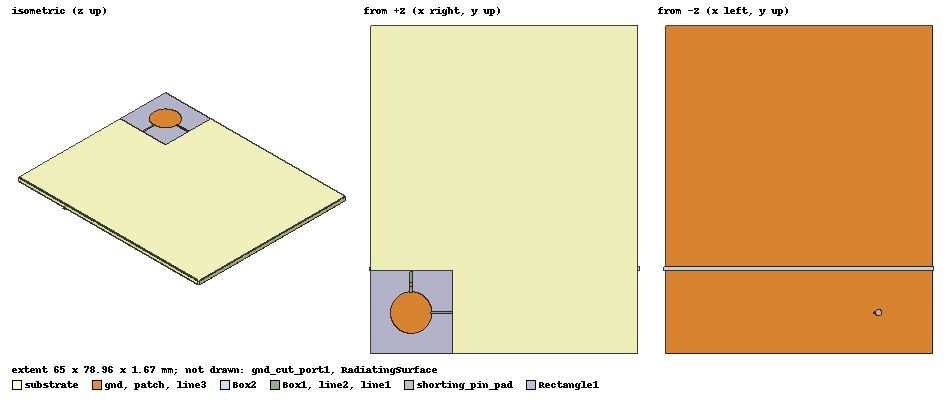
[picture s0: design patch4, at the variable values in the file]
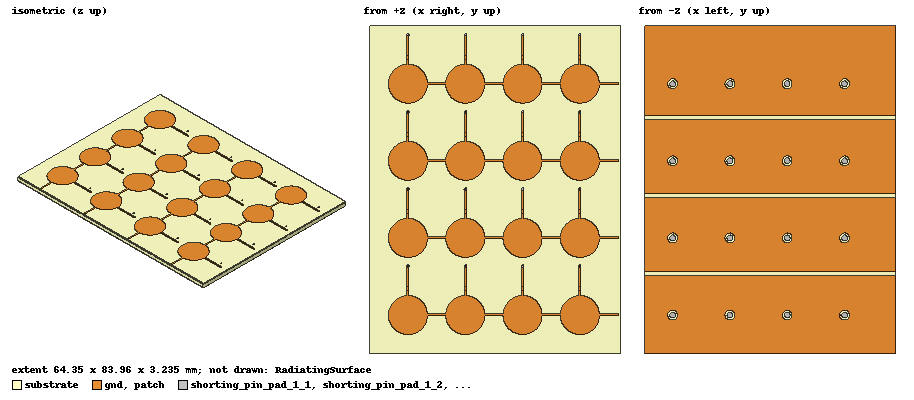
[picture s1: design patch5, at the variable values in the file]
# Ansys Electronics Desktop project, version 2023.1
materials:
  FR4_epoxy: permittivity=4.4 dielectric_loss_tangent=0.02
  copper: permeability=0.999991 conductivity=58000000
  vacuum: permittivity=1
  air: permittivity=1.0006 permeability=1.0000004

design patch4 (HFSS, HFSS Modal Network, model units mm)
options: Allow_Material_Override
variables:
  l = 19.739914mm  # optimise 10.5mm..31.5mm
  sh = 1.6mm
  ch = 0.035mm
  p_p = 3.2583886mm  # optimise 1.25mm..3.75mm
  p_py = 0mm
  p_r2 = 0.25mm
  p_r4 = 0.75mm
  p_rw = 0.4mm
  p_r3 = 1.25mm
  l1 = 5mm  # optimise 3.35mm..10.05mm
  w2 = 0.5mm
  l2 = 1.28425mm
  l3 = 1mm
  ind = 2.2nH
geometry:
  substrate [FR4_epoxy] = box(corner=(-l/2, -l/2, 0mm), size=(l+3*(l/2+l1), l+3*l, -sh))
  gnd_cut_port1 = cylinder(axis=Z, base_centre=(p_py, p_p, -sh), radius=p_r3, height=-ch)
  shorting_pin_pad [copper] = cylinder(axis=Z, base_centre=(p_py, p_p, -sh), radius=p_r4, height=-ch)
  shorting_pin [copper] = cylinder(axis=Z, base_centre=(p_py, p_p, 0), radius=p_r2, height=-sh)
  port1 [vacuum] = box(corner=(p_py-(p_rw)/2, p_p+p_r4-0.05mm, -sh-ch), size=(p_rw, p_r3-p_r4+0.1mm, 0))
  RadiatingSurface [air] = region(absolute_offset=19.230769mm on all sides)
  gnd [copper] = box(corner=(-l/2, -l/2, -sh), size=(l+3*(l/2+l1), 4*l, -ch))
  coordinate_system RelativeCS1 = origin=(-5mm, -5mm, 0mm) x=(1mm, 0mm, 0mm) y=(0mm, 1mm, 0mm)
  [shorting_pin_pad, shorting_pin, port1, gnd_cut_port1].rotate(axis=Z, angle=270deg)
  patch [copper] = cylinder(axis=Z, base_centre=(0mm, 0mm, ch), radius=l1, height=-ch)
  line1 = box(corner=(-w2/2, l1-0.2mm, ch), size=(w2, l2+0.2mm, -ch))
  line2 = box(corner=(-w2/2, l1+l2+l3, ch), size=(w2, l/2-l1-l2-l3, -ch))
  line3 [copper] = box(corner=(-w2/2, l1+l2, ch), size=(w2, l3, -ch))
  Box1 = box(corner=(l1-0.3mm, -w2/2, ch), size=(l/2-l1+0.3mm, w2, -ch))
  Box2 [vacuum] = box(corner=(-10mm, 10mm, -sh), size=(65mm, 1mm, -ch))
  Rectangle1 = rectangle(corner=(-9.869957mm, -9.869957mm, 0mm), x_size=19.869957mm, y_size=19.869957mm)
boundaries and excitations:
  Open1: Radiation Objects=RadiatingSurface
  LumpRLC1: Lumped RLC Objects=line3 CurrentLine{(0, 6.28425, 0.035) -> (0, 7.28425, 0.035)} RLC_Type=Serial Inductance=ind
  1: Lumped Port Objects=port1 LumpedPortType=Modal Modes{Mode1{IntLine{(4.5583886, 0, -1.635) -> (3.9583886, 0, -1.635)} CharImp=Zpi RenormImp="(14.84+1i*84) ohm"}} Impedance=14.84+1i*84
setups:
  Setup1: HfssDriven Frequency=5.2GHz MaxDeltaS=0.02 MaximumPasses=20 MinimumPasses=1 MinimumConvergedPasses=1 PercentRefinement=30 BasisOrder=1 PortAccuracy=2 DrivenSolverType="Domain Decomposition" IterativeResidual=1e-06 DDMSolverResidual=0.0001
    sweep Sweep: 4GHz to 6GHz, 401 points; Type=Interpolating InterpTolerance=0.5 InterpMaxSolns=250 InterpUsePortImped=false PassivityErrorTolerance=0.0001
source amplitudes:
  1:1: 1W 0deg
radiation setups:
  3D: Infinite Sphere Theta=0deg..180deg step 2deg Phi=-180deg..180deg step 2deg
  Elevation: Infinite Sphere Theta=-180deg..180deg step 1deg Phi=0deg..90deg step 90deg
  Azimuth: Infinite Sphere Theta=90deg..90deg step 0deg Phi=-180deg..180deg step 1deg
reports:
  Z Parameter: re(Z(1,1)), im(Z(1,1)) vs Freq on Setup1 : Sweep; markers m1 at 5.2GHz, m2 at 5.2GHz, m3 at 5.2GHz, m4 at 5.2GHz, MX1 at x=5.2005922e+09
  Gain Plot 4: dB(GainTotal) vs Phi, Theta on Setup1 : LastAdaptive, 3D [Freq=5.2GHz l=19.7399mm]
  S Parameter Plot 5: dB(S(1,1)) vs Freq on Setup1 : Sweep [l=19.7399mm]; markers MX1 at x=5.2380251e+09

design patch5 (HFSS, HFSS Modal Network, model units mm)
options: Allow_Material_Override
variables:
  l = 19.739914mm  # optimise 10.5mm..31.5mm
  sh = 1.6mm
  ch = 0.035mm
  p_p = 3.2583886mm  # optimise 1.25mm..3.75mm
  p_py = 0mm
  p_r2 = 0.25mm
  p_r4 = 0.75mm
  p_rw = 0.4mm
  p_r3 = 1.25mm
  l1 = 5mm  # optimise 3.35mm..10.05mm
  w2 = 0.5mm
  l2 = 1.28425mm
  l3 = 1mm
  ind = 2.2nH
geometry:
  substrate [FR4_epoxy] = box(corner=(-l/2, -l/2, 0mm), size=(l+3*(l/2+l1), l+3*l+5mm, -sh))
  gnd_cut_port1 = cylinder(axis=Z, base_centre=(p_py, p_p, -sh), radius=p_r3, height=-ch)
  shorting_pin_pad [copper] = cylinder(axis=Z, base_centre=(p_py, p_p, -sh), radius=p_r4, height=-ch)
  shorting_pin [copper] = cylinder(axis=Z, base_centre=(p_py, p_p, 0), radius=p_r2, height=-sh)
  port1 [vacuum] = box(corner=(p_py-(p_rw)/2, p_p+p_r4-0.05mm, -sh-ch), size=(p_rw, p_r3-p_r4+0.1mm, 0))
  RadiatingSurface [air] = region(absolute_offset=19.230769mm on all sides)
  gnd [copper] = box(corner=(-l/2, -l/2, -sh), size=(l+3*(l/2+l1), 4*l+5mm, -ch))
  coordinate_system RelativeCS1 = origin=(-5mm, -5mm, 0mm) x=(1mm, 0mm, 0mm) y=(0mm, 1mm, 0mm)
  [shorting_pin_pad, shorting_pin, port1, gnd_cut_port1].rotate(axis=Z, angle=270deg)
  patch [copper] = cylinder(axis=Z, base_centre=(0mm, 0mm, ch), radius=l1, height=-ch)
  gnd.subtract(gnd_cut_port1)
  line1 = box(corner=(-w2/2, l1-0.2mm, ch), size=(w2, l2+0.2mm, -ch))
  line2 = box(corner=(-w2/2, l1+l2+l3, ch), size=(w2, l/2-l1-l2-l3+3mm, -ch))
  line3 [copper] = box(corner=(-w2/2, l1+l2, ch), size=(w2, l3, -ch))
  Box1 = box(corner=(l1-0.3mm, -w2/2, ch), size=(l/2-l1+0.3mm, w2, -ch))
  patch.unite(line1, line2, Box1)
  patch_1, patch_2, patch_3 = patch.duplicate_along_line(step=(0mm, l, 0mm), total=4)
  patch_4, patch_5, patch_6 = patch.duplicate_along_line(step=(l/2+l1-0.2mm, 0mm, 0mm), total=4)
  patch_1_1, patch_1_2, patch_1_3 = patch_1.duplicate_along_line(step=(l/2+l1-0.2mm, 0mm, 0mm), total=4)
  patch_2_1, patch_2_2, patch_2_3 = patch_2.duplicate_along_line(step=(l/2+l1-0.2mm, 0mm, 0mm), total=4)
  patch_3_1, patch_3_2, patch_3_3 = patch_3.duplicate_along_line(step=(l/2+l1-0.2mm, 0mm, 0mm), total=4)
  line3_1, line3_2, line3_3 [copper] = line3.duplicate_along_line(step=(0mm, l, 0mm), total=4)
  line3_4, line3_5, line3_6 [copper] = line3.duplicate_along_line(step=(l/2+l1-0.2mm, 0mm, 0mm), total=4)
  line3_1_1, line3_1_2, line3_1_3 [copper] = line3_1.duplicate_along_line(step=(l/2+l1-0.2mm, 0mm, 0mm), total=4)
  line3_2_1, line3_2_2, line3_2_3 [copper] = line3_2.duplicate_along_line(step=(l/2+l1-0.2mm, 0mm, 0mm), total=4)
  line3_3_1, line3_3_2, line3_3_3 [copper] = line3_3.duplicate_along_line(step=(l/2+l1-0.2mm, 0mm, 0mm), total=4)
  patch.unite(patch_1, patch_1_1, patch_4, patch_5, patch_1_2, patch_1_3, patch_6, patch_2_3, patch_2_2, patch_2_1, patch_2, patch_3, patch_3_1, patch_3_2, patch_3_3)
  Box2 = box(corner=(-l/2, 10mm, -sh), size=(l+3*(l/2+l1), 1mm, -ch))
  Box3 = box(corner=(-l/2, 10mm, -sh), size=(l+3*(l/2+l1), 1mm, -ch))
  Box3.move(0mm, 20mm, 0mm)
  Box4 = box(corner=(-l/2, 10mm, -sh), size=(l+3*(l/2+l1), 1mm, -ch))
  Box4.move(0mm, 20mm, 0mm)
  Box4.move(0mm, 20mm, 0mm)
  gnd.subtract(Box2, Box3, Box4)
  Circle1 = circle(normal=Z, centre=(0mm, 13mm, sh), radius=0.3mm)
  Circle1.move(0mm, -0.5mm, 0mm)
  Circle1_1, Circle1_2, Circle1_3 = Circle1.duplicate_along_line(step=(0mm, l, 0mm), total=4)
  Circle1_4, Circle1_5, Circle1_6 = Circle1.duplicate_along_line(step=(l/2+l1-0.2mm, 0mm, 0mm), total=4)
  Circle1_1_1, Circle1_1_2, Circle1_1_3 = Circle1_1.duplicate_along_line(step=(l/2+l1-0.2mm, 0mm, 0mm), total=4)
  Circle1_2_1, Circle1_2_2, Circle1_2_3 = Circle1_2.duplicate_along_line(step=(l/2+l1-0.2mm, 0mm, 0mm), total=4)
  Circle1_3_1, Circle1_3_2, Circle1_3_3 = Circle1_3.duplicate_along_line(step=(l/2+l1-0.2mm, 0mm, 0mm), total=4)
  gnd_cut_port2 = cylinder(axis=Z, base_centre=(p_py, p_p, -sh), radius=p_r3, height=-ch)
  gnd_cut_port2.rotate(axis=Z, angle=270deg)
  gnd_cut_port2_1, gnd_cut_port2_2, gnd_cut_port2_3 = gnd_cut_port2.duplicate_along_line(step=(0mm, l, 0mm), total=4)
  gnd_cut_port2_4, gnd_cut_port2_5, gnd_cut_port2_6 = gnd_cut_port2.duplicate_along_line(step=(l/2+l1-0.2mm, 0mm, 0mm), total=4)
  gnd_cut_port2_1_1, gnd_cut_port2_1_2, gnd_cut_port2_1_3 = gnd_cut_port2_1.duplicate_along_line(step=(l/2+l1-0.2mm, 0mm, 0mm), total=4)
  gnd_cut_port2_2_1, gnd_cut_port2_2_2, gnd_cut_port2_2_3 = gnd_cut_port2_2.duplicate_along_line(step=(l/2+l1-0.2mm, 0mm, 0mm), total=4)
  gnd_cut_port2_3_1, gnd_cut_port2_3_2, gnd_cut_port2_3_3 = gnd_cut_port2_3.duplicate_along_line(step=(l/2+l1-0.2mm, 0mm, 0mm), total=4)
  gnd.subtract(gnd_cut_port2, gnd_cut_port2_1, gnd_cut_port2_1_1, gnd_cut_port2_1_2, gnd_cut_port2_1_3, gnd_cut_port2_2, gnd_cut_port2_2_1, gnd_cut_port2_2_2, gnd_cut_port2_2_3, gnd_cut_port2_3, gnd_cut_port2_3_1, gnd_cut_port2_3_2, gnd_cut_port2_3_3, gnd_cut_port2_4, gnd_cut_port2_5, gnd_cut_port2_6)
  shorting_pin_1, shorting_pin_2, shorting_pin_3 [copper] = shorting_pin.duplicate_along_line(step=(0mm, l, 0mm), total=4)
  shorting_pin_pad_1, shorting_pin_pad_2, shorting_pin_pad_3 [copper] = shorting_pin_pad.duplicate_along_line(step=(0mm, l, 0mm), total=4)
  shorting_pin_4, shorting_pin_5, shorting_pin_6 [copper] = shorting_pin.duplicate_along_line(step=(l/2+l1-0.2mm, 0mm, 0mm), total=4)
  shorting_pin_1_1, shorting_pin_1_2, shorting_pin_1_3 [copper] = shorting_pin_1.duplicate_along_line(step=(l/2+l1-0.2mm, 0mm, 0mm), total=4)
  shorting_pin_2_1, shorting_pin_2_2, shorting_pin_2_3 [copper] = shorting_pin_2.duplicate_along_line(step=(l/2+l1-0.2mm, 0mm, 0mm), total=4)
  shorting_pin_3_1, shorting_pin_3_2, shorting_pin_3_3 [copper] = shorting_pin_3.duplicate_along_line(step=(l/2+l1-0.2mm, 0mm, 0mm), total=4)
  shorting_pin_pad_4, shorting_pin_pad_5, shorting_pin_pad_6 [copper] = shorting_pin_pad.duplicate_along_line(step=(l/2+l1-0.2mm, 0mm, 0mm), total=4)
  shorting_pin_pad_1_1, shorting_pin_pad_1_2, shorting_pin_pad_1_3 [copper] = shorting_pin_pad_1.duplicate_along_line(step=(l/2+l1-0.2mm, 0mm, 0mm), total=4)
  shorting_pin_pad_2_1, shorting_pin_pad_2_2, shorting_pin_pad_2_3 [copper] = shorting_pin_pad_2.duplicate_along_line(step=(l/2+l1-0.2mm, 0mm, 0mm), total=4)
  shorting_pin_pad_3_1, shorting_pin_pad_3_2, shorting_pin_pad_3_3 [copper] = shorting_pin_pad_3.duplicate_along_line(step=(l/2+l1-0.2mm, 0mm, 0mm), total=4)
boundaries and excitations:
  Open1: Radiation Objects=RadiatingSurface
  LumpRLC1: Lumped RLC Objects=line3 CurrentLine{(0, 6.28425, 0.035) -> (0, 7.28425, 0.035)} RLC_Type=Serial Inductance=ind
  LumpRLC2: Lumped RLC Objects=line3_1 CurrentLine{(0, 26.024164, 0.035) -> (0, 27.024164, 0.035)} RLC_Type=Serial Inductance=ind
  LumpRLC3: Lumped RLC Objects=line3_2 CurrentLine{(0, 45.764078, 0.035) -> (0, 46.764078, 0.035)} RLC_Type=Serial Inductance=ind
  LumpRLC4: Lumped RLC Objects=line3_3 CurrentLine{(0, 65.503992, 0.035) -> (0, 66.503992, 0.035)} RLC_Type=Serial Inductance=ind
  LumpRLC5: Lumped RLC Objects=line3_4 CurrentLine{(14.669957, 6.28425, 0.035) -> (14.669957, 7.28425, 0.035)} RLC_Type=Serial Inductance=ind
  LumpRLC6: Lumped RLC Objects=line3_1_1 CurrentLine{(14.669957, 26.024164, 0.035) -> (14.669957, 27.024164, 0.035)} RLC_Type=Serial Inductance=ind
  LumpRLC7: Lumped RLC Objects=line3_2_1 CurrentLine{(14.669957, 45.764078, 0.035) -> (14.669957, 46.764078, 0.035)} RLC_Type=Serial Inductance=ind
  LumpRLC8: Lumped RLC Objects=line3_3_1 CurrentLine{(14.669957, 65.503992, 0.035) -> (14.669957, 66.503992, 0.035)} RLC_Type=Serial Inductance=ind
  LumpRLC9: Lumped RLC Objects=line3_5 CurrentLine{(29.339914, 6.28425, 0.035) -> (29.339914, 7.28425, 0.035)} RLC_Type=Serial Inductance=ind
  LumpRLC10: Lumped RLC Objects=line3_1_2 CurrentLine{(29.339914, 26.024164, 0.035) -> (29.339914, 27.024164, 0.035)} RLC_Type=Serial Inductance=ind
  LumpRLC11: Lumped RLC Objects=line3_2_2 CurrentLine{(29.339914, 45.764078, 0.035) -> (29.339914, 46.764078, 0.035)} RLC_Type=Serial Inductance=ind
  LumpRLC12: Lumped RLC Objects=line3_3_2 CurrentLine{(29.339914, 65.503992, 0.035) -> (29.339914, 66.503992, 0.035)} RLC_Type=Serial Inductance=ind
  LumpRLC13: Lumped RLC Objects=line3_6 CurrentLine{(44.009871, 6.28425, 0.035) -> (44.009871, 7.28425, 0.035)} RLC_Type=Serial Inductance=ind
  LumpRLC14: Lumped RLC Objects=line3_1_3 CurrentLine{(44.009871, 26.024164, 0.035) -> (44.009871, 27.024164, 0.035)} RLC_Type=Serial Inductance=ind
  LumpRLC15: Lumped RLC Objects=line3_2_3 CurrentLine{(44.009871, 45.764078, 0.035) -> (44.009871, 46.764078, 0.035)} RLC_Type=Serial Inductance=ind
  LumpRLC16: Lumped RLC Objects=line3_3_3 CurrentLine{(44.009871, 65.503992, 0.035) -> (44.009871, 66.503992, 0.035)} RLC_Type=Serial Inductance=ind
  1: Lumped Port Objects=port1 LumpedPortType=Modal Modes{Mode1{IntLine{(4.5583886, 0, -1.635) -> (3.9583886, 0, -1.635)} CharImp=Zpi RenormImp="(14.84+1i*84) ohm"}} Impedance=14.84+1i*84
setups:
  Setup1: HfssDriven Frequency=5.2GHz MaxDeltaS=0.02 MaximumPasses=20 MinimumPasses=1 MinimumConvergedPasses=1 PercentRefinement=30 BasisOrder=1 PortAccuracy=2 DrivenSolverType="Domain Decomposition" IterativeResidual=1e-06 DDMSolverResidual=0.0001
    sweep Sweep: 4GHz to 6GHz, 401 points; Type=Interpolating InterpTolerance=0.5 InterpMaxSolns=250 InterpUsePortImped=false PassivityErrorTolerance=0.0001
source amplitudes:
  1:1: 1W 0deg
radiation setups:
  3D: Infinite Sphere Theta=0deg..180deg step 2deg Phi=-180deg..180deg step 2deg
  Elevation: Infinite Sphere Theta=-180deg..180deg step 1deg Phi=0deg..90deg step 90deg
  Azimuth: Infinite Sphere Theta=90deg..90deg step 0deg Phi=-180deg..180deg step 1deg
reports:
  Z Parameter: re(Z(1,1)), im(Z(1,1)) vs Freq on Setup1 : Sweep; markers m1 at 5.2GHz, m2 at 5.2GHz, m3 at 5.2GHz, m4 at 5.2GHz, MX1 at x=5.2005922e+09
  Gain Plot 4: dB(GainTotal) vs Phi, Theta on Setup1 : LastAdaptive, 3D [Freq=5.2GHz l=19.7399mm]
  S Parameter Plot 5: dB(S(1,1)) vs Freq on Setup1 : Sweep [l=19.7399mm]; markers MX1 at x=5.2380251e+09

design HFSSDesign1 (HFSS, HFSS Terminal Network, model units mm)
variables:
  l2 = 1.28425mm
  l = 19.739914mm
  l1 = 5mm
  w2 = 0.5mm
  l3 = 1mm
  ch = 0.035mm
  sh = 1.6mm
  p_r3 = 1.25mm
  p_py = 0mm
  p_p = 3.2583886mm
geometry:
  Rectangle1 = rectangle(corner=(-10mm, -10mm, 0mm), x_size=64.479828mm, y_size=84.089699mm, uncovered)
